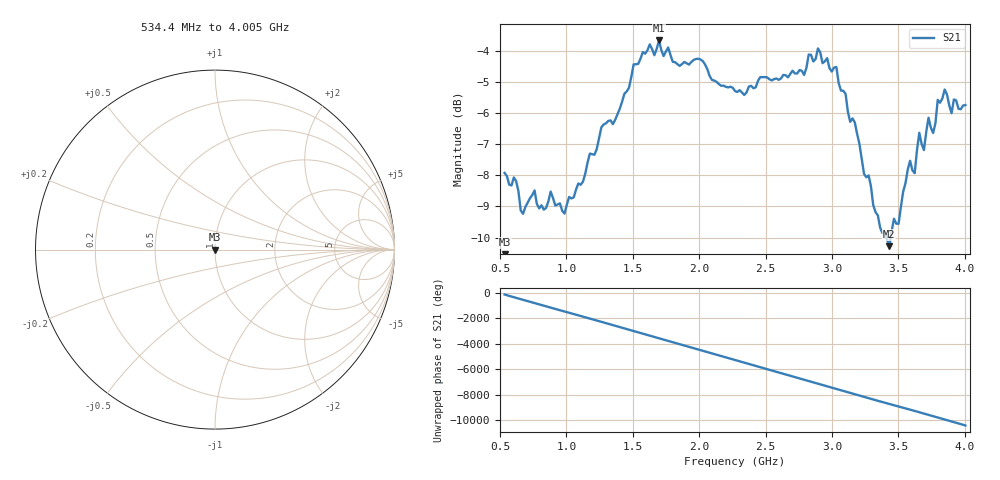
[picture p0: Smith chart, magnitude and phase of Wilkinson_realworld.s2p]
!Agilent Technologies,E8362C,MY49020251,A.08.50.10
!Agilent E8362C: A.08.50.10
!Date: Wednesday, June 06, 2018 05:41:22
!Correction: S11(Off)
!S21(Off)
!S12(Off)
!S22(Off)
!S2P File: Measurements: S11, S21, S12, S22:
# Hz S  RI  R 50
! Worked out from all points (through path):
!   201 points, 534.4 MHz to 4.005 GHz, reference 50 ohm
!   highest |S21| = -3.65 dB at 1.697 GHz (marker M1); lowest = -10.3 dB at 3.432 GHz (marker M2)
!   lowest |S11| = - dB at 534.4 MHz (marker M3), VSWR 1.00, Z = 50 + j7.07e-09 ohm
!   |S11| at or under -10 dB: start of sweep to end of sweep
!   S12 and S22 are empty: the file has one direction only
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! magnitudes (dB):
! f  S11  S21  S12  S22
! 534.4 MHz  -  -7.9  -  -
! 621.2 MHz  -  -8.2  -  -
! 673.2 MHz  -  -9.2  -  -
! 760 MHz  -  -8.5  -  -
! 985.6 MHz  -  -9.2  -  -
! 1.124 GHz  -  -8.2  -  -
! 1.506 GHz  -  -4.4  -  -
! 1.697 GHz  -  -3.7  -  -
! 2.27 GHz  -  -5.3  -  -
! 2.86 GHz  -  -4.3  -  -
! 3.033 GHz  -  -4.5  -  -
! 3.432 GHz  -  -10.3  -  -
! 3.588 GHz  -  -7.5  -  -
! 3.623 GHz  -  -7.9  -  -
! 3.658 GHz  -  -6.6  -  -
! 3.692 GHz  -  -7.2  -  -
! 3.727 GHz  -  -6.1  -  -
! 3.762 GHz  -  -6.6  -  -
! 3.797 GHz  -  -5.6  -  -
! 3.849 GHz  -  -5.2  -  -
! 3.901 GHz  -  -6.0  -  -
! 4.005 GHz  -  -5.7  -  -
